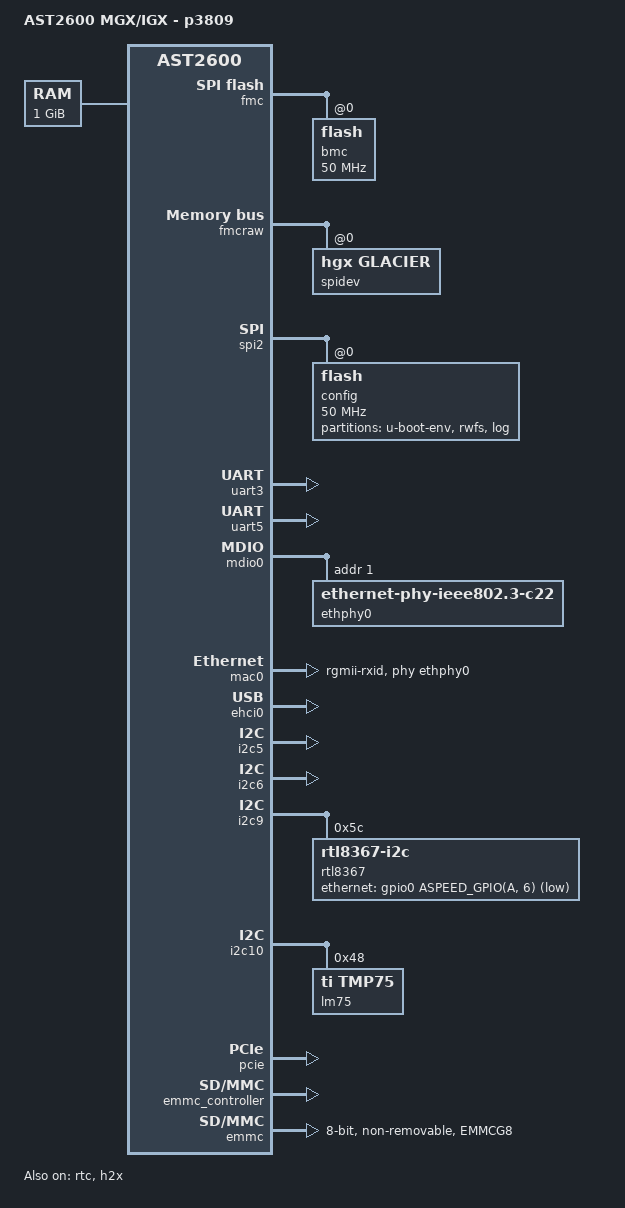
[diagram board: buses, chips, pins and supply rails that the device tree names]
// SPDX-License-Identifier: GPL-2.0+
/dts-v1/;

#include "aspeed-g6.dtsi"
#include <dt-bindings/gpio/aspeed-gpio.h>
#include <dt-bindings/leds/common.h>

/ {
       model = "AST2600 MGX/IGX - p3809";
       compatible = "aspeed,ast2600";

       aliases {
               serial4 = &uart5;
       };

       chosen {
               stdout-path = &uart5;
               bootargs = "console=ttyS4,115200n8 root=/dev/ram rw earlyprintk";
       };

       memory@80000000 {
               reg = <0x80000000 0x40000000>;
       };

};

&gpio0 {
        gpio-line-names =
        /*A0-A7*/       "","","mod_shutdown","","bmc_gpio_n0","tlf_aurix_reset_i2c","","VM_EN1",
        /*B0-B7*/       "","","","","","","","",
        /*C0-C7*/       "","","soc_reset","soc_safestate","","","vmon_irq","",
        /*D0-D7*/       "soc_pwr_req","bmc_pwr_btn_n","bmc_rec_btn_n","","","","","",
        /*E0-E7*/       "","","","bmc_gpio_e3","","","tlf_aurix_reset_gpio","",
        /*F0-F7*/       "","","","","","","","",
        /*G0-G7*/       "","","","","","","","",
        /*H0-H7*/       "","","","","bmc_gpio_n1","tlf_aurix_hwcfg3","","",
        /*I0-I7*/       "","","","","","","global_wp","",
        /*J0-J7*/       "carrier_pwr_on","","","pwr_irq","ephy_irq","ephy_rst","soc_temp_alert","shifter_enable_uart",
        /*K0-K7*/       "","aurix_int","","","","","bmc_rst_btn_n","",
        /*L0-L7*/       "","","","","","","","",
        /*M0-M7*/       "","","","hpm_stby_en","","","","",
        /*N0-N7*/       "","","","","","","","",
        /*O0-O7*/       "","","","","","","","",
        /*P0-P7*/       "","","","","","","","",
        /*Q0-Q7*/       "","","","","","","","",
        /*R0-R7*/       "","sp0_ap_intr","","","","","","",
        /*S0-S7*/       "","","","","","","","",
        /*T0-T7*/       "","","","","","","","",
        /*U0-U7*/       "","","","","","","","",
        /*V0-V7*/       "","","","","","","","",
        /*W0-W7*/       "","","","","","","","",
        /*X0-X7*/       "","","","","","","","",
        /*Y0-Y7*/       "","","","","","","","",
        /*Z0-Z7*/       "","","","","","","","";
};

&gpio1 {
        gpio-line-names =
        /*AA0-AA7*/     "","","","","","","","",
        /*AB0-AB7*/     "","","","","","","","",
        /*AC0-AC7*/     "","","","","","","","",
        /*AD0-AD7*/     "","","","","","","","",
        /*AE0-AE7*/     "","","","","","","","";
};

/* Primary flash - FMC */
&fmc {
       status = "okay";
       flash@0 {
               status = "okay";
               m25p,fast-read;
               label = "bmc";
               spi-max-frequency = <50000000>;
	       #include "aspeed-bmc-nvidia-mgx-flash-layout-64.dtsi"
       };
};

&fmcraw {
         status = "okay";
         spidev@0 {
                  compatible = "hgx,glacier";
                  status = "okay";
         };
};

&spi2 {
       status = "okay";
       pinctrl-names = "default";
        pinctrl-0 = <&pinctrl_spi2_default>;
       flash@0 {
               status = "okay";
               label = "config";
               spi-max-frequency = <50000000>;
               partitions {
                       compatible = "fixed-partitions";
                       #address-cells = <1>;
                       #size-cells = <1>;

                       u-boot-env@0 {
                               reg = <0x0 0x40000>;
                               label = "u-boot-env";
                       };

                       rwfs@40000 {
                               reg = <0x40000 0x1000000>;
                               label = "rwfs";
                       };

                       log@3800000 {
                               reg = <0x3800000 0xc800000>;
                               label = "log";
                       };
               };
       };
};

&rtc {
        status = "okay";
};

&uart3 {
       // Host  Debug Console
       status = "okay";
};

&uart5 {
       // BMC Debug Console
       status = "okay";
};

&mdio0 {
       status = "okay";
       ethphy0: ethernet-phy@1 {
               compatible = "ethernet-phy-ieee802.3-c22";
               reg = <1>;
       };
};

/* MAC1 of SoC connected to external PHY */
&mac0 {
       status = "okay";
       phy-mode = "rgmii-rxid";
       phy-handle = <&ethphy0>;

       pinctrl-names = "default";
       pinctrl-0 = <&pinctrl_rgmii1_default>;
};

/* Tegra USB Path */
&ehci0 {
   status = "okay";
};

&i2c5 {
    status = "okay";
};

&i2c6 {
    status = "okay";
};

&i2c9 {
        status = "okay";
        rtl8367@5c {
                compatible = "rtl8367-i2c";
		ethernet-gpios = <&gpio0 ASPEED_GPIO(A, 6) GPIO_ACTIVE_LOW>;
                reg = <0x5c>;
        };
};

&i2c10 {
    status = "okay";
    lm75@48 {
        compatible = "ti,tmp75";
        reg = <0x48>;
    };
};

// PCIe RC
&pcie {
        status = "okay";

        interrupts = <GIC_SPI 168 IRQ_TYPE_LEVEL_HIGH>;

        pcie_intc0: legacy-interrupt-controller {
                interrupts = <GIC_SPI 168 IRQ_TYPE_EDGE_RISING>;
        };
};
// Bridge between AHB bus and PCIe RC.
&h2x {
        status = "okay";
};

&pinctrl {
	pinctrl_emmcg8_default: emmcg8_default {
		function = "EMMC";
		groups = "EMMCG8";
};
};

/* Enable emmc */
&emmc_controller {
        status = "okay";
};

&emmc {
        non-removable;
        bus-width = <8>;
        max-frequency = <200000000>;
	pinctrl-0 = <&pinctrl_emmcg8_default>;
	clk-phase-mmc-hs200 = <9>, <225>;

};

